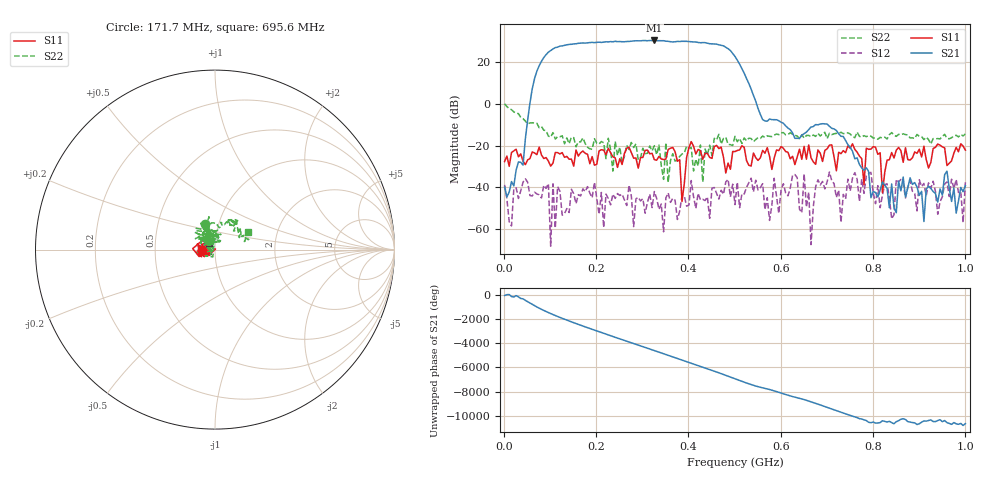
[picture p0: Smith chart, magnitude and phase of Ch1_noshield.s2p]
!Keysight Technologies N9923A: A.12.45
!Date: Friday, 10 October 2025 01:53:38
!Timezone: (UTC+08:00) Kuala Lumpur, Singapore
!Model: N9923A
!Serial: MY61181427
!GPS Latitude:
!GPS Longitude:
!GPS TimeStamp: 0001-01-01 00:00:00Z
!GPS Seconds Since Last Read: 0
!CHECKSUM:0740294241
!Correction: S11(ON U?)S21(ON U?)S12(ON U?)S22(ON U?)
!S2P File: Measurements:S11,S21,S12,S22:
# Hz S DB R 50
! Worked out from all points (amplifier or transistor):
!   201 points, 2 MHz to 1 GHz, reference 50 ohm
!   highest |S21| = 30.5 dB at 326.4 MHz (marker M1)
!   |S21| within 3 dB of that: 118.9 MHz to 479 MHz (360.1 MHz wide, 120 % of centre)
!   unconditionally stable (mu >= 1): 2.317 MHz to end of sweep
!   at 166.7 MHz: K = 2.85, MAG = 29.3 dB, |S12| = -44.2 dB
!   at 501 MHz: K = 9.22, MAG = 22.9 dB, |S12| = -48.4 dB
!   at 1 GHz: K = 3304.86, MAG = -39.1 dB, |S12| = -37.5 dB
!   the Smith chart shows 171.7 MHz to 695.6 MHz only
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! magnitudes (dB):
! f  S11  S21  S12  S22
! 2 MHz  -27.7  -39.9  -38.9  0.1
! 16.97 MHz  -23.3  -37.3  -58.6  -2.8
! 96.81 MHz  -27.4  24.9  -38.3  -15.4
! 101.8 MHz  -29.9  25.7  -68.3  -16.0
! 106.8 MHz  -28.4  26.4  -38.4  -13.8
! 111.8 MHz  -23.3  27.0  -59.7  -16.9
! 171.7 MHz  -22.6  29.3  -40.8  -16.3
! 326.4 MHz  -26.8  30.5  -42.1  -20.1
! 336.3 MHz  -25.2  30.4  -50.7  -19.8
! 386.2 MHz  -46.9  30.1  -44.0  -24.1
! 406.2 MHz  -18.1  29.9  -36.8  -21.0
! 501 MHz  -22.9  22.8  -48.4  -15.6
! 560.9 MHz  -22.3  -7.5  -38.3  -15.5
! 645.7 MHz  -26.6  -15.0  -52.3  -14.8
! 650.7 MHz  -20.4  -14.3  -33.6  -16.4
! 665.7 MHz  -25.9  -11.1  -67.6  -15.8
! 670.7 MHz  -27.8  -10.9  -49.3  -14.9
! 835.3 MHz  -26.8  -49.9  -45.1  -14.8
! 960.1 MHz  -29.6  -32.3  -37.5  -16.5
! 980 MHz  -20.9  -52.4  -36.3  -15.1
! 995 MHz  -20.3  -42.2  -56.9  -15.4
! 1 GHz  -22.2  -39.3  -37.5  -14.4
